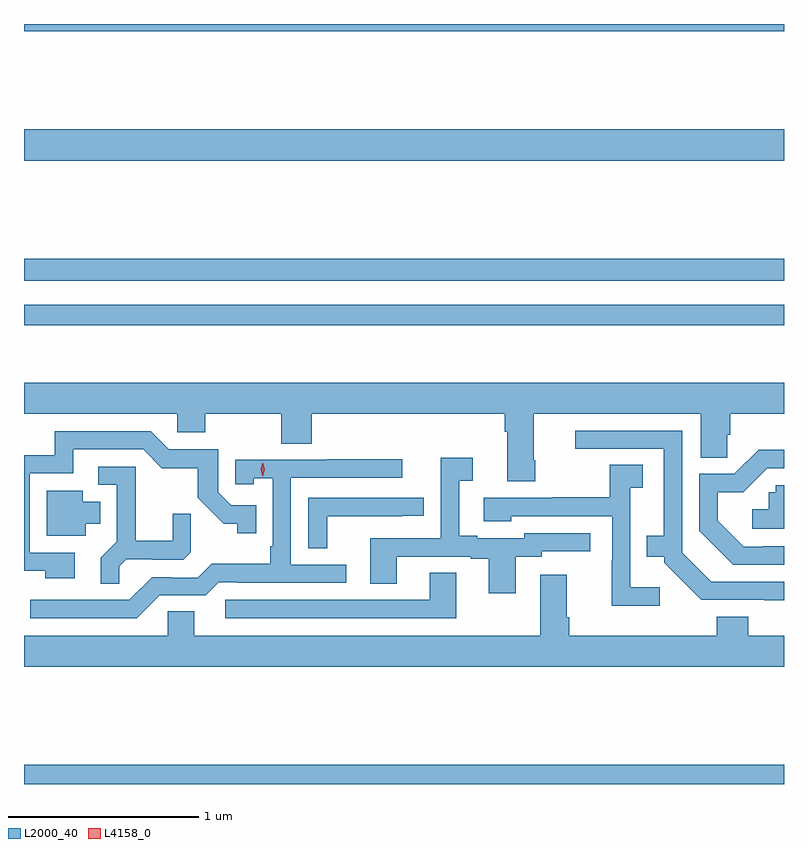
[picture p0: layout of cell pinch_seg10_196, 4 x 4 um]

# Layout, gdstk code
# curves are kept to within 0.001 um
import gdstk
lib = gdstk.Library(unit=1e-6, precision=1e-09)
def R(c, l, rs):  # rectangles x0, y0, x1, y1
    for r in rs: c.add(gdstk.rectangle(r[:2], r[2:], *l))
def P(c, l, *ps):  # polygons
    for p in ps: c.add(gdstk.Polygon(p, *l))
L2000_40 = (2000, 40)
L4158_0 = (4158, 0)

pinch_seg10_196 = lib.new_cell('pinch_seg10_196')
R(pinch_seg10_196, L2000_40, [(780.582,1267.731,784.582,1267.832), (780.582,1270.146,784.582,1270.254), (780.582,1270.38,784.582,1270.496), (780.582,1271.012,784.582,1271.176), (780.582,1271.692,784.582,1271.731)])
P(pinch_seg10_196, L2000_40, [(783.273,1269.436),(783.265,1269.436),(783.265,1269.68),(784.145,1269.68),(784.145,1269.448),(784.283,1269.448),(784.283,1269.57),(784.298,1269.57),(784.298,1269.68),(784.582,1269.68),(784.582,1269.844),(780.582,1269.844),(780.582,1269.68),(781.389,1269.68),(781.389,1269.582),(781.536,1269.582),(781.536,1269.68),(781.936,1269.68),(781.936,1269.523),(782.096,1269.523),(782.096,1269.68),(783.113,1269.68),(783.113,1269.584),(783.125,1269.584),(783.125,1269.324),(783.273,1269.324)],
  [(784.582,1268.796),(784.2,1268.796),(784.047,1268.949),(784.047,1269.591),(783.483,1269.591),(783.483,1269.495),(783.95,1269.495),(783.95,1269.037),(783.859,1269.037),(783.859,1268.927),(783.951,1268.927),(783.951,1268.895),(784.146,1268.7),(784.582,1268.699)],
  [(780.85,1268.949),(780.612,1268.949),(780.612,1269.366),(780.841,1269.366),(780.841,1269.492),(781.209,1269.492),(781.308,1269.394),(781.497,1269.394),(781.497,1269.238),(781.634,1269.101),(781.704,1269.101),(781.704,1269.051),(781.805,1269.051),(781.805,1269.198),(781.674,1269.198),(781.605,1269.267),(781.605,1269.492),(781.344,1269.492),(781.248,1269.588),(780.743,1269.588),(780.743,1269.462),(780.582,1269.462),(780.582,1268.853),(780.694,1268.853),(780.694,1268.813),(780.85,1268.813)],
  [(784.582,1268.982),(784.471,1268.982),(784.471,1268.979),(784.371,1268.979),(784.234,1269.116),(784.234,1269.266),(784.367,1269.266),(784.494,1269.393),(784.582,1269.393),(784.582,1269.491),(784.448,1269.491),(784.32,1269.363),(784.137,1269.363),(784.137,1269.065),(784.316,1268.886),(784.582,1268.886)],
  [(783.169,1268.928),(783.306,1268.928),(783.306,1268.955),(783.562,1268.955),(783.562,1269.051),(783.216,1269.051),(783.216,1269.024),(782.968,1269.024),(782.968,1269.037),(782.872,1269.037),(782.872,1269.328),(782.944,1269.328),(782.944,1269.448),(782.775,1269.448),(782.775,1269.024),(782.405,1269.024),(782.405,1268.785),(782.545,1268.785),(782.545,1268.928),(782.933,1268.928),(782.933,1268.916),(783.029,1268.916),(783.029,1268.736),(783.169,1268.736)],
  [(781.296,1268.724),(781.539,1268.724),(781.608,1268.793),(781.708,1268.793),(781.708,1268.79),(782.278,1268.79),(782.278,1268.886),(781.986,1268.886),(781.986,1269.342),(782.572,1269.342),(782.572,1269.441),(782.179,1269.441),(782.179,1269.438),(781.695,1269.438),(781.695,1269.309),(781.791,1269.309),(781.791,1269.341),(781.89,1269.341),(781.89,1268.983),(781.878,1268.983),(781.878,1268.89),(781.57,1268.89),(781.497,1268.817),(781.358,1268.817),(781.358,1268.82),(781.257,1268.82),(781.137,1268.7),(780.614,1268.7),(780.614,1268.604),(781.176,1268.604)],
  [(783.928,1268.767),(783.774,1268.767),(783.774,1269.289),(783.838,1269.289),(783.838,1269.41),(783.666,1269.41),(783.666,1269.24),(783.361,1269.24),(783.361,1269.237),(783.003,1269.237),(783.003,1269.113),(783.147,1269.113),(783.147,1269.141),(783.678,1269.141),(783.678,1268.909),(783.676,1268.909),(783.676,1268.669),(783.928,1268.669)],
  [(781.083,1268.876),(781.12,1268.913),(781.254,1268.913),(781.254,1268.91),(781.419,1268.91),(781.46,1268.951),(781.46,1269.153),(781.366,1269.153),(781.366,1269.01),(781.169,1269.01),(781.169,1269.402),(780.972,1269.402),(780.972,1269.306),(781.071,1269.306),(781.071,1269.007),(780.985,1268.921),(780.985,1268.785),(781.083,1268.785)],
  [(784.582,1269.303),(784.539,1269.303),(784.539,1269.267),(784.503,1269.267),(784.503,1269.178),(784.416,1269.178),(784.416,1269.075),(784.582,1269.075)],
  [(780.907,1269.101),(780.982,1269.101),(780.982,1269.217),(780.892,1269.217),(780.892,1269.274),(780.701,1269.274),(780.701,1269.038),(780.907,1269.038)],
  [(782.178,1269.141),(782.573,1269.141),(782.573,1269.142),(782.686,1269.142),(782.686,1269.237),(782.079,1269.237),(782.079,1268.971),(782.178,1268.971)],
  [(782.857,1268.843),(782.717,1268.843),(782.717,1268.7),(781.641,1268.7),(781.641,1268.604),(782.857,1268.604)],
  [(784.582,1268.512),(784.394,1268.512),(784.394,1268.611),(784.229,1268.611),(784.229,1268.512),(783.452,1268.512),(783.452,1268.608),(783.439,1268.608),(783.439,1268.833),(783.299,1268.833),(783.299,1268.512),(781.477,1268.512),(781.477,1268.639),(781.338,1268.639),(781.338,1268.512),(780.582,1268.512),(780.582,1268.348),(784.582,1268.348)])
P(pinch_seg10_196, L4158_0, [(781.839,1269.35),(781.839,1269.351),(781.829,1269.387),(781.839,1269.423),(781.839,1269.423),(781.839,1269.423),(781.849,1269.387),(781.839,1269.351)])

lib.write_gds('pinch_seg10_196.gds')
